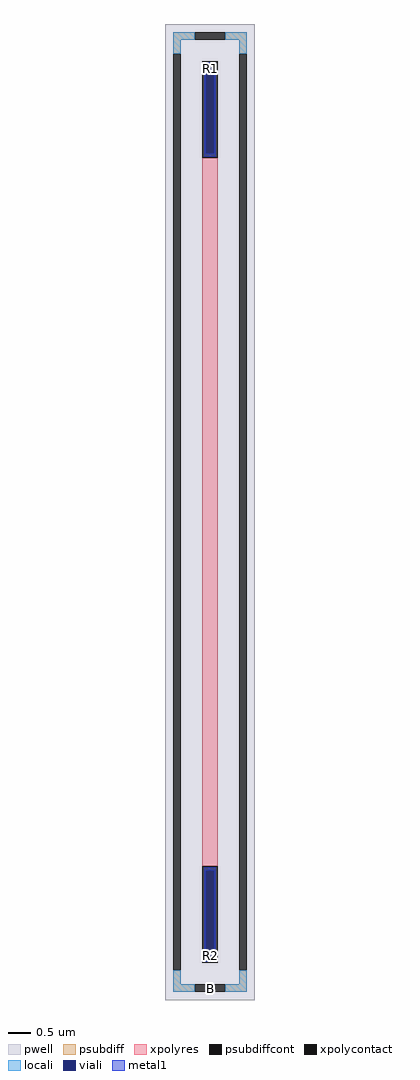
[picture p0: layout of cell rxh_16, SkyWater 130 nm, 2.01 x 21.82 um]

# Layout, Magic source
magic
tech sky130A
magscale 1 2
<< pwell >>
rect -201 -2182 201 2182
<< psubdiff >>
rect -165 2112 -69 2146
rect 69 2112 165 2146
rect -165 2050 -131 2112
rect 131 2050 165 2112
rect -165 -2112 -131 -2050
rect 131 -2112 165 -2050
rect -165 -2146 -69 -2112
rect 69 -2146 165 -2112
<< psubdiffcont >>
rect -69 2112 69 2146
rect -165 -2050 -131 2050
rect 131 -2050 165 2050
rect -69 -2146 69 -2112
<< xpolycontact >>
rect -35 1584 35 2016
rect -35 -2016 35 -1584
<< xpolyres >>
rect -35 -1584 35 1584
<< locali >>
rect -165 2112 -69 2146
rect 69 2112 165 2146
rect -165 2050 -131 2112
rect 131 2050 165 2112
rect -165 -2112 -131 -2050
rect 131 -2112 165 -2050
rect -165 -2146 -69 -2112
rect 69 -2146 165 -2112
<< viali >>
rect -19 1601 19 1998
rect -19 -1998 19 -1601
<< metal1 >>
rect -25 1998 25 2010
rect -25 1601 -19 1998
rect 19 1601 25 1998
rect -25 1589 25 1601
rect -25 -1601 25 -1589
rect -25 -1998 -19 -1601
rect 19 -1998 25 -1601
rect -25 -2010 25 -1998
<< labels >>
rlabel psubdiffcont 0 -2129 0 -2129 0 B
port 1 nsew
rlabel xpolycontact 0 1981 0 1981 0 R1
port 2 nsew
rlabel xpolycontact 0 -1981 0 -1981 0 R2
port 3 nsew
<< properties >>
string FIXED_BBOX -148 -2129 148 2129
string gencell sky130_fd_pr__res_xhigh_po_0p35
string library sky130
string MASKHINTS_URPM -130 -2072 130 2072
string parameters w 0.350 l 16 m 1 nx 1 wmin 0.350 lmin 0.50 class resistor rho 2000 val 2875.143 dummy 0 dw 0.0 term 188.2 sterm 0.0 caplen 0 wmax 0.350 guard 1 glc 1 grc 1 gtc 1 gbc 1 compatible {sky130_fd_pr__res_xhigh_po_0p35  sky130_fd_pr__res_xhigh_po_0p69 sky130_fd_pr__res_xhigh_po_1p41  sky130_fd_pr__res_xhigh_po_2p85 sky130_fd_pr__res_xhigh_po_5p73} snake 0 full_metal 1 n_guard 0 hv_guard 0 vias 1 viagb 0 viagt 0 viagl 0 viagr 0 doports 1
<< end >>
